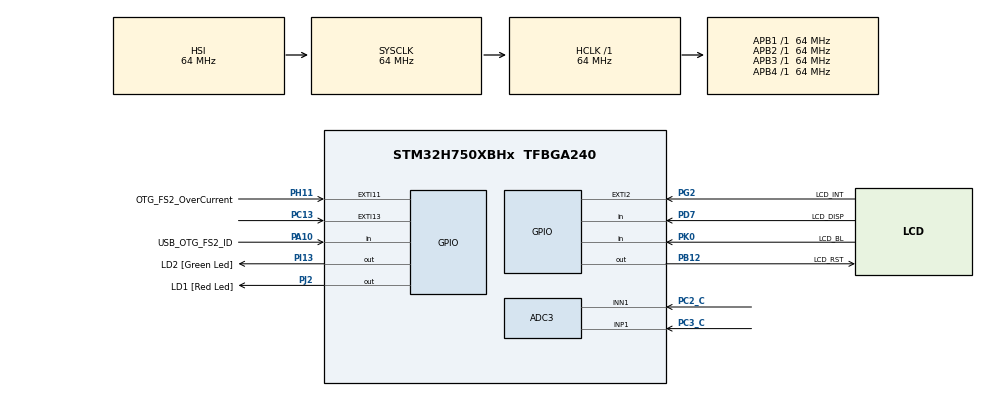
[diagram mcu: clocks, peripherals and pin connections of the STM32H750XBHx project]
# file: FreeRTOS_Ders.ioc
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ADC3.Channel-0\#ChannelRegularConversion=ADC_CHANNEL_1
ADC3.NbrOfConversionFlag=1
ADC3.OffsetNumber-0\#ChannelRegularConversion=ADC_OFFSET_NONE
ADC3.Rank-0\#ChannelRegularConversion=1
ADC3.SamplingTime-0\#ChannelRegularConversion=ADC_SAMPLETIME_1CYCLE_5
ADC3.SingleDiff-0\#ChannelRegularConversion=ADC_DIFFERENTIAL_ENDED
CORTEX_M7.default_mode_Activation=1
FREERTOS.Tasks01=taskA,32,256,StartTaskA,Default,NULL,Dynamic,NULL,NULL;taskB,16,256,StartTaskB,Default,NULL,Dynamic,NULL,NULL;monitorTask,40,256,StartMonitorTask,Default,NULL,Dynamic,NULL,NULL
FREERTOS.configCHECK_FOR_STACK_OVERFLOW=2
FREERTOS.configUSE_MALLOC_FAILED_HOOK=1
IWDG1.Prescaler=IWDG_PRESCALER_32
Mcu.Family=STM32H7
Mcu.Name=STM32H750XBHx
Mcu.Package=TFBGA240
NVIC.EXTI15_10_IRQn=true\:15\:0\:true\:false\:true\:true\:true\:true\:true
NVIC.PriorityGroup=NVIC_PRIORITYGROUP_4
NVIC.TIM6_DAC_IRQn=true\:15\:0\:false\:false\:true\:false\:false\:true\:true
NVIC.TimeBase=TIM6_DAC_IRQn
NVIC.TimeBaseIP=TIM6
PA0_C.Signal=ADCx_INP0
PA1.GPIO_Label=MII_RX_CLK
PA1.Signal=ETH_RX_CLK
PA10.GPIO_Label=USB_OTG_FS2_ID
PA10.Signal=GPIO_Input
PA11.GPIO_Label=USB_OTG_FS2_N
PA11.Signal=USB_OTG_FS_DM
PA12.GPIO_Label=USB_OTG_FS2_P
PA12.Signal=USB_OTG_FS_DP
PA1_C.Signal=ADCx_INP1
PA2.GPIO_Label=MII_MDIO
PA2.Signal=ETH_MDIO
PA6.Signal=S_TIM13_CH1
PA7.GPIO_Label=MII_RX_DV
PA7.Signal=ETH_RX_DV
PA8.Signal=S_TIM1_CH1
PA9.GPIO_Label=VBUS_FS2
PA9.Signal=USB_OTG_FS_VBUS
PB0.GPIO_Label=MII_RX_D2
PB0.Signal=ETH_RXD2
PB1.GPIO_Label=MII_RX_D3
PB1.Signal=ETH_RXD3
PB10.GPIO_Label=VCP_TX
PB10.Signal=USART3_TX
PB11.GPIO_Label=VCP_RX
PB11.Signal=USART3_RX
PB12.GPIO_Label=LCD_RST
PB12.Signal=GPIO_Output
PB13.GPIO_Label=FDCAN2_TX
PB13.Signal=FDCAN2_TX
PB15.Signal=SPI2_MOSI
PB4\ (NJTRST).Signal=SPI2_NSS
PB5.GPIO_Label=FDCAN2_RX
PB5.Signal=FDCAN2_RX
PB6.Signal=QUADSPI_BK1_NCS
PB8.GPIO_Label=SDIO1_D4
PB8.Signal=SDMMC1_D4
PB9.GPIO_Label=SDIO1_D5
PB9.Signal=SDMMC1_D5
PC0.Signal=ADCx_INP10
PC1.GPIO_Label=MII_MDC
PC1.Signal=ETH_MDC
PC10.GPIO_Label=SDIO1_D2
PC10.Signal=SDMMC1_D2
PC11.GPIO_Label=SDIO1_D3
PC11.Signal=SDMMC1_D3
PC12.GPIO_Label=SDIO1_CK
PC12.Signal=SDMMC1_CK
PC13.Signal=GPXTI13
PC14-OSC32_IN\ (OSC32_IN).GPIO_Label=OSC32_IN
PC14-OSC32_IN\ (OSC32_IN).Mode=LSE-External-Clock-Source
PC14-OSC32_IN\ (OSC32_IN).Signal=RCC_OSC32_IN
PC15-OSC32_OUT\ (OSC32_OUT).GPIO_Label=OSC32_OUT
PC15-OSC32_OUT\ (OSC32_OUT).Signal=RCC_OSC32_OUT
PC2.GPIO_Label=MII_TXD2
PC2.Signal=ETH_TXD2
PC2_C.Signal=SharedAnalog_PC2
PC3.GPIO_Label=MII_TX_CLK
PC3.Signal=ETH_TX_CLK
PC3_C.Mode=IN1-Differential
PC3_C.Signal=ADC3_INP1
PC4.GPIO_Label=MII_RXD0
PC4.Signal=ETH_RXD0
PC5.GPIO_Label=MII_RXD1
PC5.Signal=ETH_RXD1
PC6.GPIO_Label=SDIO1_D6
PC6.Signal=SDMMC1_D6
PC7.GPIO_Label=SDIO1_D7
PC7.Signal=SDMMC1_D7
PC8.GPIO_Label=SDIO1_D0
PC8.Signal=SDMMC1_D0
PC9.GPIO_Label=SDIO1_D1
PC9.Signal=SDMMC1_D1
PD0.Signal=FMC_D2_DA2
PD1.Signal=FMC_D3_DA3
PD10.Signal=FMC_D15_DA15
PD11.Signal=QUADSPI_BK1_IO0
PD14.Signal=FMC_D0_DA0
PD15.Signal=FMC_D1_DA1
PD2.GPIO_Label=SDIO1_CMD
PD2.Signal=SDMMC1_CMD
PD3.Signal=SPI2_SCK
PD7.GPIO_Label=LCD_DISP
PD7.Signal=GPIO_Input
PD8.Signal=FMC_D13_DA13
PD9.Signal=FMC_D14_DA14
PE0.Signal=FMC_NBL0
PE1.Signal=FMC_NBL1
PE10.Signal=FMC_D7_DA7
PE11.Signal=FMC_D8_DA8
PE12.Signal=FMC_D9_DA9
PE13.Signal=FMC_D10_DA10
PE14.Signal=FMC_D11_DA11
PE15.Signal=FMC_D12_DA12
PE2.GPIO_Label=MII_TXD3
PE2.Signal=ETH_TXD3
PE4.Signal=SAI4_D2
PE5.Signal=SAI4_CK2
PE7.Signal=FMC_D4_DA4
PE8.Signal=FMC_D5_DA5
PE9.Signal=FMC_D6_DA6
PF0.Signal=FMC_A0
PF1.Signal=FMC_A1
PF10.Signal=QUADSPI_CLK
PF11.Signal=FMC_SDNRAS
PF12.Signal=FMC_A6
PF13.Signal=FMC_A7
PF14.Signal=FMC_A8
PF15.Signal=FMC_A9
PF2.Signal=FMC_A2
PF3.Signal=FMC_A3
PF4.Signal=FMC_A4
PF5.Signal=FMC_A5
PF6.Signal=QUADSPI_BK1_IO3
PF7.Signal=QUADSPI_BK1_IO2
PF8.Signal=ADC3_INP7
PF9.Signal=QUADSPI_BK1_IO1
PG0.Signal=FMC_A10
PG1.Signal=FMC_A11
PG10.Signal=SAI2_SD_B
PG11.GPIO_Label=MII_TX_EN
PG11.Signal=ETH_TX_EN
PG12.GPIO_Label=MII_TXD1
PG12.Signal=ETH_TXD1
PG13.GPIO_Label=MII_TXD0
PG13.Signal=ETH_TXD0
PG15.Signal=FMC_SDNCAS
PG2.GPIO_Label=LCD_INT
PG2.Signal=GPXTI2
PG4.Signal=FMC_A14_BA0
PG5.Signal=FMC_A15_BA1
PG8.Signal=FMC_SDCLK
PH0-OSC_IN\ (PH0).GPIO_Label=OSC_IN
PH0-OSC_IN\ (PH0).Mode=HSE-External-Clock-Source
PH0-OSC_IN\ (PH0).Signal=RCC_OSC_IN
PH1-OSC_OUT\ (PH1).GPIO_Label=OSC_OUT
PH1-OSC_OUT\ (PH1).Signal=RCC_OSC_OUT
PH11.GPIO_Label=OTG_FS2_OverCurrent
PH11.Signal=GPXTI11
PH13.GPIO_Label=FDCAN1_TX
PH13.Signal=FDCAN1_TX
PH14.GPIO_Label=FDCAN1_RX
PH14.Signal=FDCAN1_RX
PH15.Signal=TIM8_CH3N
PH2.GPIO_Label=MII_CRS
PH2.Signal=ETH_CRS
PH3.GPIO_Label=MII_COL
PH3.Signal=ETH_COL
PH5.Signal=FMC_SDNWE
PH6.Signal=FMC_SDNE1
PH7.Signal=FMC_SDCKE1
PH9.Signal=LTDC_R3
PI0.Signal=LTDC_G5
PI1.Signal=LTDC_G6
PI10.GPIO_Label=MII_RX_ER
PI10.Signal=ETH_RX_ER
PI12.Signal=LTDC_HSYNC
PI13.GPIO_Label=LD2 [Green Led]
PI13.Signal=GPIO_Output
PI14.Signal=LTDC_CLK
PI15.Signal=LTDC_R0
PI2.Signal=SPI2_MISO
PI4.Signal=SAI2_MCLK_A
PI5.Signal=SAI2_SCK_A
PI6.Signal=SAI2_SD_A
PI7.Signal=SAI2_FS_A
PI9.Signal=LTDC_VSYNC
PJ0.Signal=LTDC_R1
PJ1.Signal=LTDC_R2
PJ10.Signal=LTDC_G3
PJ11.Signal=LTDC_G4
PJ12.Signal=LTDC_B0
PJ13.Signal=LTDC_B1
PJ14.Signal=LTDC_B2
PJ15.GPIO_Label=LCD_DISP
PJ15.Signal=LTDC_B3
PJ2.GPIO_Label=LD1 [Red Led]
PJ2.Signal=GPIO_Output
PJ3.Signal=LTDC_R4
PJ4.Signal=LTDC_R5
PJ5.Signal=LTDC_R6
PJ6.Signal=LTDC_R7
PJ7.Signal=LTDC_G0
PJ8.Signal=LTDC_G1
PJ9.Signal=LTDC_G2
PK0.GPIO_Label=LCD_BL
PK0.Signal=GPIO_Input
PK2.Signal=LTDC_G7
PK3.Signal=LTDC_B4
PK4.Signal=LTDC_B5
PK5.Signal=LTDC_B6
PK6.Signal=LTDC_B7
PK7.Signal=LTDC_DE
ProjectManager.HeapSize=0x200
ProjectManager.StackSize=0x400
ProjectManager.TargetToolchain=STM32CubeIDE
RCC.ADCFreq_Value=37500000
RCC.APB1Freq_Value=64000000
RCC.APB2Freq_Value=64000000
RCC.APB3Freq_Value=64000000
RCC.APB4Freq_Value=64000000
RCC.CortexFreq_Value=64000000
RCC.DIVM1=22
RCC.DIVM2=2
RCC.DIVN1=169
RCC.DIVN2=12
RCC.DIVP2=4
RCC.DIVQ1=4
RCC.HCLKFreq_Value=64000000
RCC.PLL2FRACN=0
RCC.PLL3FRACN=0
RCC.PLLFRACN=0
RCC.PLLSourceVirtual=RCC_PLLSOURCE_HSE
RCC.SYSCLKFreq_VALUE=64000000
RCC.USBFreq_Value=48011363.63636364
SH.ADCx_INP0.0=ADC1_INP0
SH.ADCx_INP0.1=ADC2_INP0
SH.ADCx_INP1.0=ADC1_INP1
SH.ADCx_INP1.1=ADC2_INP1
SH.ADCx_INP10.0=ADC1_INP10
SH.ADCx_INP10.1=ADC3_INP10
SH.FMC_A0.0=FMC_A0
SH.FMC_A1.0=FMC_A1
SH.FMC_A10.0=FMC_A10
SH.FMC_A11.0=FMC_A11
SH.FMC_A14_BA0.0=FMC_BA0
SH.FMC_A15_BA1.0=FMC_BA1
SH.FMC_A2.0=FMC_A2
SH.FMC_A3.0=FMC_A3
SH.FMC_A4.0=FMC_A4
SH.FMC_A5.0=FMC_A5
SH.FMC_A6.0=FMC_A6
SH.FMC_A7.0=FMC_A7
SH.FMC_A8.0=FMC_A8
SH.FMC_A9.0=FMC_A9
SH.FMC_D0_DA0.0=FMC_D0
SH.FMC_D10_DA10.0=FMC_D10
SH.FMC_D11_DA11.0=FMC_D11
SH.FMC_D12_DA12.0=FMC_D12
SH.FMC_D13_DA13.0=FMC_D13
SH.FMC_D14_DA14.0=FMC_D14
SH.FMC_D15_DA15.0=FMC_D15
SH.FMC_D1_DA1.0=FMC_D1
SH.FMC_D2_DA2.0=FMC_D2
SH.FMC_D3_DA3.0=FMC_D3
SH.FMC_D4_DA4.0=FMC_D4
SH.FMC_D5_DA5.0=FMC_D5
SH.FMC_D6_DA6.0=FMC_D6
SH.FMC_D7_DA7.0=FMC_D7
SH.FMC_D8_DA8.0=FMC_D8
SH.FMC_D9_DA9.0=FMC_D9
SH.FMC_NBL0.0=FMC_NBL0
SH.FMC_NBL1.0=FMC_NBL1
SH.FMC_SDCLK.0=FMC_SDCLK
SH.FMC_SDNCAS.0=FMC_SDNCAS
SH.FMC_SDNRAS.0=FMC_SDNRAS
SH.FMC_SDNWE.0=FMC_SDNWE
SH.S_TIM13_CH1.0=TIM13_CH1
SH.S_TIM1_CH1.0=TIM1_CH1
SH.SharedAnalog_PC2.0=ADC3_INP0
SH.SharedAnalog_PC2.1=ADC3_INN1,IN1-Differential
VP_FREERTOS_VS_CMSIS_V2.Mode=CMSIS_V2
VP_IWDG1_VS_IWDG.Mode=IWDG_Activate
VP_MEMORYMAP_VS_MEMORYMAP.Mode=CurAppReg
VP_SYS_VS_tim6.Mode=TIM6
board=STM32H750B-DK

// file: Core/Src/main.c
/* USER CODE BEGIN Header */
/**
 ******************************************************************************
 * @file           : main.c
 * @brief          : Main program body
 ******************************************************************************
 * @attention
 *
 * Copyright (c) 2026 STMicroelectronics.
 * All rights reserved.
 *
 * This software is licensed under terms that can be found in the LICENSE file
 * in the root directory of this software component.
 * If no LICENSE file comes with this software, it is provided AS-IS.
 *
 ******************************************************************************
 */
/* USER CODE END Header */
#include "main.h"
#include "FreeRTOS.h"
#include "cmsis_os2.h"

/* USER CODE BEGIN PD */

#define FLAG_BUTTON (1u << 0)
#define FLAG_DATA (1u << 1)

/* USER CODE END PD */

ADC_HandleTypeDef hadc3;

IWDG_HandleTypeDef hiwdg1;

/* Definitions for taskA */
osThreadId_t taskAHandle;
const osThreadAttr_t taskA_attributes =
		{ .name = "taskA", .stack_size = 256 * 4, .priority =
				(osPriority_t) osPriorityAboveNormal, };
/* Definitions for taskB */
osThreadId_t taskBHandle;
const osThreadAttr_t taskB_attributes =
		{ .name = "taskB", .stack_size = 256 * 4, .priority =
				(osPriority_t) osPriorityBelowNormal, };
/* Definitions for monitorTask */
osThreadId_t monitorTaskHandle;
const osThreadAttr_t monitorTask_attributes = { .name = "monitorTask",
		.stack_size = 256 * 4, .priority = (osPriority_t) osPriorityHigh, };
/* USER CODE BEGIN PV */

volatile uint32_t counterA = 0;
volatile uint32_t counterB = 0;

osMessageQueueId_t dataQueue;
volatile uint32_t lastReceived = 0;
volatile uint32_t sendErrors = 0;

osMutexId_t counterMutex;
volatile uint32_t sharedCounter = 0;

const osMutexAttr_t counterMutexAttr = { .name = "counterMutex", .attr_bits =
osMutexPrioInherit };

osSemaphoreId_t eventSem;
volatile uint32_t releaseErrors = 0;

volatile uint32_t irqCount = 0;

volatile uint32_t lastFlags = 0;

volatile uint32_t buttonEvents = 0;
volatile uint32_t dataEvents = 0;

volatile uint32_t stackFreeA = 0;
volatile uint32_t stackFreeB = 0;

volatile size_t heapBefore = 0;
volatile size_t heapAllocated = 0;
volatile size_t heapAfterFree = 0;
volatile size_t heapMinimum = 0;

volatile uint32_t workResult = 0;
volatile uint32_t elapsedTicksA = 0;
volatile uint32_t maxElapsedTicksA = 0;

volatile uint32_t deadlineMissesA = 0;
volatile uint32_t responseTicksA = 0;
volatile uint32_t startLateTicksA = 0;

volatile uint32_t skippedReleasesA = 0;

volatile uint32_t monitorChecks = 0;
volatile uint32_t stalledTicksA = 0;
volatile uint32_t taskStalledA = 0;

volatile uint32_t stalledTicksB = 0;
volatile uint32_t taskStalledB = 0;

volatile uint32_t iwdgResetSeen = 0;
/* USER CODE END PV */

void SystemClock_Config(void);
static void MPU_Config(void);
static void MX_GPIO_Init(void);
static void MX_ADC3_Init(void);
static void MX_IWDG1_Init(void);
void StartTaskA(void *argument);
void StartTaskB(void *argument);
void StartMonitorTask(void *argument);

int main(void) {

	/* USER CODE BEGIN 1 */

	iwdgResetSeen = (__HAL_RCC_GET_FLAG(RCC_FLAG_IWDG1RST) != RESET) ? 1U : 0U;

	/* Sonraki resetin nedenini ayırt edebilmek için temizle. */

	__HAL_RCC_CLEAR_RESET_FLAGS();

	/* USER CODE END 1 */

	/* MPU Configuration--------------------------------------------------------*/
	MPU_Config();

	/* MCU Configuration--------------------------------------------------------*/

	/* Reset of all peripherals, Initializes the Flash interface and the Systick. */
	HAL_Init();

	/* Configure the system clock */
	SystemClock_Config();

	/* Initialize all configured peripherals */
	MX_GPIO_Init();
	MX_ADC3_Init();
	MX_IWDG1_Init();
	/* USER CODE BEGIN 2 */

	__HAL_DBGMCU_FREEZE_IWDG1();

	/* USER CODE END 2 */

	/* Init scheduler */
	osKernelInitialize();

	/* USER CODE BEGIN RTOS_MUTEX */
	/* add mutexes, ... */
	counterMutex = osMutexNew(&counterMutexAttr);

	if (counterMutex == NULL) {
		Error_Handler();
	}
	/* USER CODE END RTOS_MUTEX */

	/* USER CODE BEGIN RTOS_SEMAPHORES */
	/* add semaphores, ... */
	eventSem = osSemaphoreNew(3, 0, NULL);

	if (eventSem == NULL) {
		Error_Handler();
	}
	/* USER CODE END RTOS_SEMAPHORES */

	/* USER CODE BEGIN RTOS_QUEUES */
	/* add queues, ... */
	dataQueue = osMessageQueueNew(4, sizeof(uint32_t), NULL);

	if (dataQueue == NULL) {
		Error_Handler();
	}
	/* USER CODE END RTOS_QUEUES */

	/* Create the thread(s) */
	/* creation of taskA */
	taskAHandle = osThreadNew(StartTaskA, NULL, &taskA_attributes);

	/* creation of taskB */
	taskBHandle = osThreadNew(StartTaskB, NULL, &taskB_attributes);

	/* creation of monitorTask */
	monitorTaskHandle = osThreadNew(StartMonitorTask, NULL,
			&monitorTask_attributes);

	/* Start scheduler */
	osKernelStart();

	/* We should never get here as control is now taken by the scheduler */

	/* Infinite loop */
	while (1) {

	}
}

void SystemClock_Config(void) {
	RCC_OscInitTypeDef RCC_OscInitStruct = { 0 };
	RCC_ClkInitTypeDef RCC_ClkInitStruct = { 0 };

	/** Supply configuration update enable
	 */
	HAL_PWREx_ConfigSupply(PWR_LDO_SUPPLY);

	/** Configure the main internal regulator output voltage
	 */
	__HAL_PWR_VOLTAGESCALING_CONFIG(PWR_REGULATOR_VOLTAGE_SCALE3);

	while (!__HAL_PWR_GET_FLAG(PWR_FLAG_VOSRDY)) {
	}

	/** Macro to configure the PLL clock source
	 */
	__HAL_RCC_PLL_PLLSOURCE_CONFIG(RCC_PLLSOURCE_HSE);

	/** Initializes the RCC Oscillators according to the specified parameters
	 * in the RCC_OscInitTypeDef structure.
	 */
	RCC_OscInitStruct.OscillatorType = RCC_OSCILLATORTYPE_HSI
			| RCC_OSCILLATORTYPE_LSI | RCC_OSCILLATORTYPE_HSE;
	RCC_OscInitStruct.HSEState = RCC_HSE_BYPASS;
	RCC_OscInitStruct.HSIState = RCC_HSI_DIV1;
	RCC_OscInitStruct.HSICalibrationValue = RCC_HSICALIBRATION_DEFAULT;
	RCC_OscInitStruct.LSIState = RCC_LSI_ON;
	RCC_OscInitStruct.PLL.PLLState = RCC_PLL_NONE;
	if (HAL_RCC_OscConfig(&RCC_OscInitStruct) != HAL_OK) {
		Error_Handler();
	}

	/** Initializes the CPU, AHB and APB buses clocks
	 */
	RCC_ClkInitStruct.ClockType = RCC_CLOCKTYPE_HCLK | RCC_CLOCKTYPE_SYSCLK
			| RCC_CLOCKTYPE_PCLK1 | RCC_CLOCKTYPE_PCLK2 | RCC_CLOCKTYPE_D3PCLK1
			| RCC_CLOCKTYPE_D1PCLK1;
	RCC_ClkInitStruct.SYSCLKSource = RCC_SYSCLKSOURCE_HSI;
	RCC_ClkInitStruct.SYSCLKDivider = RCC_SYSCLK_DIV1;
	RCC_ClkInitStruct.AHBCLKDivider = RCC_HCLK_DIV1;
	RCC_ClkInitStruct.APB3CLKDivider = RCC_APB3_DIV1;
	RCC_ClkInitStruct.APB1CLKDivider = RCC_APB1_DIV1;
	RCC_ClkInitStruct.APB2CLKDivider = RCC_APB2_DIV1;
	RCC_ClkInitStruct.APB4CLKDivider = RCC_APB4_DIV1;

	if (HAL_RCC_ClockConfig(&RCC_ClkInitStruct, FLASH_LATENCY_1) != HAL_OK) {
		Error_Handler();
	}
}

static void MX_ADC3_Init(void) {

	ADC_ChannelConfTypeDef sConfig = { 0 };

	/** Common config
	 */
	hadc3.Instance = ADC3;
	hadc3.Init.ClockPrescaler = ADC_CLOCK_ASYNC_DIV1;
	hadc3.Init.ScanConvMode = ADC_SCAN_DISABLE;
	hadc3.Init.EOCSelection = ADC_EOC_SINGLE_CONV;
	hadc3.Init.LowPowerAutoWait = DISABLE;
	hadc3.Init.ContinuousConvMode = DISABLE;
	hadc3.Init.NbrOfConversion = 1;
	hadc3.Init.DiscontinuousConvMode = DISABLE;
	hadc3.Init.ExternalTrigConv = ADC_SOFTWARE_START;
	hadc3.Init.ExternalTrigConvEdge = ADC_EXTERNALTRIGCONVEDGE_NONE;
	hadc3.Init.ConversionDataManagement = ADC_CONVERSIONDATA_DR;
	hadc3.Init.Overrun = ADC_OVR_DATA_PRESERVED;
	hadc3.Init.LeftBitShift = ADC_LEFTBITSHIFT_NONE;
	hadc3.Init.OversamplingMode = DISABLE;
	hadc3.Init.Oversampling.Ratio = 1;
	if (HAL_ADC_Init(&hadc3) != HAL_OK) {
		Error_Handler();
	}
	hadc3.Init.Resolution = ADC_RESOLUTION_16B;
	if (HAL_ADC_Init(&hadc3) != HAL_OK) {
		Error_Handler();
	}

	/** Configure Regular Channel
	 */
	sConfig.Channel = ADC_CHANNEL_1;
	sConfig.Rank = ADC_REGULAR_RANK_1;
	sConfig.SamplingTime = ADC_SAMPLETIME_1CYCLE_5;
	sConfig.SingleDiff = ADC_DIFFERENTIAL_ENDED;
	sConfig.OffsetNumber = ADC_OFFSET_NONE;
	sConfig.Offset = 0;
	sConfig.OffsetSignedSaturation = DISABLE;
	if (HAL_ADC_ConfigChannel(&hadc3, &sConfig) != HAL_OK) {
		Error_Handler();
	}

}

static void MX_IWDG1_Init(void) {

	hiwdg1.Instance = IWDG1;
	hiwdg1.Init.Prescaler = IWDG_PRESCALER_32;
	hiwdg1.Init.Window = 4095;
	hiwdg1.Init.Reload = 4095;
	if (HAL_IWDG_Init(&hiwdg1) != HAL_OK) {
		Error_Handler();
	}

}

static void MX_GPIO_Init(void) {
	GPIO_InitTypeDef GPIO_InitStruct = { 0 };

	/* GPIO Ports Clock Enable */
	__HAL_RCC_GPIOI_CLK_ENABLE();
	__HAL_RCC_GPIOB_CLK_ENABLE();
	__HAL_RCC_GPIOK_CLK_ENABLE();
	__HAL_RCC_GPIOG_CLK_ENABLE();
	__HAL_RCC_GPIOC_CLK_ENABLE();
	__HAL_RCC_GPIOE_CLK_ENABLE();
	__HAL_RCC_GPIOJ_CLK_ENABLE();
	__HAL_RCC_GPIOD_CLK_ENABLE();
	__HAL_RCC_GPIOH_CLK_ENABLE();
	__HAL_RCC_GPIOA_CLK_ENABLE();
	__HAL_RCC_GPIOF_CLK_ENABLE();

	/*Configure GPIO pin Output Level */
	HAL_GPIO_WritePin(LD2_GPIO_Port, LD2_Pin, GPIO_PIN_RESET);

	/*Configure GPIO pin Output Level */
	HAL_GPIO_WritePin(LD1_GPIO_Port, LD1_Pin, GPIO_PIN_RESET);

	/*Configure GPIO pin Output Level */
	HAL_GPIO_WritePin(LCD_RST_GPIO_Port, LCD_RST_Pin, GPIO_PIN_RESET);

	/*Configure GPIO pins : PI6 PI5 PI4 PI7 */
	GPIO_InitStruct.Pin = GPIO_PIN_6 | GPIO_PIN_5 | GPIO_PIN_4 | GPIO_PIN_7;
	GPIO_InitStruct.Mode = GPIO_MODE_AF_PP;
	GPIO_InitStruct.Pull = GPIO_NOPULL;
	GPIO_InitStruct.Speed = GPIO_SPEED_FREQ_LOW;
	GPIO_InitStruct.Alternate = GPIO_AF10_SAI2;
	HAL_GPIO_Init(GPIOI, &GPIO_InitStruct);

	/*Configure GPIO pins : FDCAN2_RX_Pin FDCAN2_TX_Pin */
	GPIO_InitStruct.Pin = FDCAN2_RX_Pin | FDCAN2_TX_Pin;
	GPIO_InitStruct.Mode = GPIO_MODE_AF_PP;
	GPIO_InitStruct.Pull = GPIO_NOPULL;
	GPIO_InitStruct.Speed = GPIO_SPEED_FREQ_LOW;
	GPIO_InitStruct.Alternate = GPIO_AF9_FDCAN2;
	HAL_GPIO_Init(GPIOB, &GPIO_InitStruct);

	/*Configure GPIO pins : PK5 PK4 PK6 PK3
	 PK7 PK2 */
	GPIO_InitStruct.Pin = GPIO_PIN_5 | GPIO_PIN_4 | GPIO_PIN_6 | GPIO_PIN_3
			| GPIO_PIN_7 | GPIO_PIN_2;
	GPIO_InitStruct.Mode = GPIO_MODE_AF_PP;
	GPIO_InitStruct.Pull = GPIO_NOPULL;
	GPIO_InitStruct.Speed = GPIO_SPEED_FREQ_LOW;
	GPIO_InitStruct.Alternate = GPIO_AF14_LTDC;
	HAL_GPIO_Init(GPIOK, &GPIO_InitStruct);

	/*Configure GPIO pin : PG10 */
	GPIO_InitStruct.Pin = GPIO_PIN_10;
	GPIO_InitStruct.Mode = GPIO_MODE_AF_PP;
	GPIO_InitStruct.Pull = GPIO_NOPULL;
	GPIO_InitStruct.Speed = GPIO_SPEED_FREQ_LOW;
	GPIO_InitStruct.Alternate = GPIO_AF10_SAI2;
	HAL_GPIO_Init(GPIOG, &GPIO_InitStruct);

	/*Configure GPIO pins : SDIO1_D2_Pin SDIO1_D3_Pin SDIO1_CK_Pin SDIO1_D0_Pin
	 SDIO1_D1_Pin SDIO1_D7_Pin SDIO1_D6_Pin */
	GPIO_InitStruct.Pin = SDIO1_D2_Pin | SDIO1_D3_Pin | SDIO1_CK_Pin
			| SDIO1_D0_Pin | SDIO1_D1_Pin | SDIO1_D7_Pin | SDIO1_D6_Pin;
	GPIO_InitStruct.Mode = GPIO_MODE_AF_PP;
	GPIO_InitStruct.Pull = GPIO_NOPULL;
	GPIO_InitStruct.Speed = GPIO_SPEED_FREQ_VERY_HIGH;
	GPIO_InitStruct.Alternate = GPIO_AF12_SDIO1;
	HAL_GPIO_Init(GPIOC, &GPIO_InitStruct);

	/*Configure GPIO pins : PI1 PI0 PI9 PI12
	 PI14 PI15 */
	GPIO_InitStruct.Pin = GPIO_PIN_1 | GPIO_PIN_0 | GPIO_PIN_9 | GPIO_PIN_12
			| GPIO_PIN_14 | GPIO_PIN_15;
	GPIO_InitStruct.Mode = GPIO_MODE_AF_PP;
	GPIO_InitStruct.Pull = GPIO_NOPULL;
	GPIO_InitStruct.Speed = GPIO_SPEED_FREQ_LOW;
	GPIO_InitStruct.Alternate = GPIO_AF14_LTDC;
	HAL_GPIO_Init(GPIOI, &GPIO_InitStruct);

	/*Configure GPIO pins : PE1 PE0 PE10 PE9
	 PE11 PE12 PE15 PE8
	 PE13 PE7 PE14 */
	GPIO_InitStruct.Pin = GPIO_PIN_1 | GPIO_PIN_0 | GPIO_PIN_10 | GPIO_PIN_9
			| GPIO_PIN_11 | GPIO_PIN_12 | GPIO_PIN_15 | GPIO_PIN_8 | GPIO_PIN_13
			| GPIO_PIN_7 | GPIO_PIN_14;
	GPIO_InitStruct.Mode = GPIO_MODE_AF_PP;
	GPIO_InitStruct.Pull = GPIO_NOPULL;
	GPIO_InitStruct.Speed = GPIO_SPEED_FREQ_VERY_HIGH;
	GPIO_InitStruct.Alternate = GPIO_AF12_FMC;
	HAL_GPIO_Init(GPIOE, &GPIO_InitStruct);

	/*Configure GPIO pin : PB6 */
	GPIO_InitStruct.Pin = GPIO_PIN_6;
	GPIO_InitStruct.Mode = GPIO_MODE_AF_PP;
	GPIO_InitStruct.Pull = GPIO_NOPULL;
	GPIO_InitStruct.Speed = GPIO_SPEED_FREQ_LOW;
	GPIO_InitStruct.Alternate = GPIO_AF10_QUADSPI;
	HAL_GPIO_Init(GPIOB, &GPIO_InitStruct);

	/*Configure GPIO pin : PB4 */
	GPIO_InitStruct.Pin = GPIO_PIN_4;
	GPIO_InitStruct.Mode = GPIO_MODE_AF_PP;
	GPIO_InitStruct.Pull = GPIO_NOPULL;
	GPIO_InitStruct.Speed = GPIO_SPEED_FREQ_LOW;
	GPIO_InitStruct.Alternate = GPIO_AF7_SPI2;
	HAL_GPIO_Init(GPIOB, &GPIO_InitStruct);

	/*Configure GPIO pins : MII_TX_EN_Pin MII_TXD1_Pin MII_TXD0_Pin */
	GPIO_InitStruct.Pin = MII_TX_EN_Pin | MII_TXD1_Pin | MII_TXD0_Pin;
	GPIO_InitStruct.Mode = GPIO_MODE_AF_PP;
	GPIO_InitStruct.Pull = GPIO_NOPULL;
	GPIO_InitStruct.Speed = GPIO_SPEED_FREQ_HIGH;
	GPIO_InitStruct.Alternate = GPIO_AF11_ETH;
	HAL_GPIO_Init(GPIOG, &GPIO_InitStruct);

	/*Configure GPIO pins : LCD_DISP_Pin PJ14 PJ12 PJ13
	 PJ11 PJ10 PJ9 PJ0
	 PJ8 PJ7 PJ6 PJ1
	 PJ5 PJ3 PJ4 */
	GPIO_InitStruct.Pin = LCD_DISP_Pin | GPIO_PIN_14 | GPIO_PIN_12 | GPIO_PIN_13
			| GPIO_PIN_11 | GPIO_PIN_10 | GPIO_PIN_9 | GPIO_PIN_0 | GPIO_PIN_8
			| GPIO_PIN_7 | GPIO_PIN_6 | GPIO_PIN_1 | GPIO_PIN_5 | GPIO_PIN_3
			| GPIO_PIN_4;
	GPIO_InitStruct.Mode = GPIO_MODE_AF_PP;
	GPIO_InitStruct.Pull = GPIO_NOPULL;
	GPIO_InitStruct.Speed = GPIO_SPEED_FREQ_LOW;
	GPIO_InitStruct.Alternate = GPIO_AF14_LTDC;
	HAL_GPIO_Init(GPIOJ, &GPIO_InitStruct);

	/*Configure GPIO pin : PD3 */
	GPIO_InitStruct.Pin = GPIO_PIN_3;
	GPIO_InitStruct.Mode = GPIO_MODE_AF_PP;
	GPIO_InitStruct.Pull = GPIO_NOPULL;
	GPIO_InitStruct.Speed = GPIO_SPEED_FREQ_LOW;
	GPIO_InitStruct.Alternate = GPIO_AF5_SPI2;
	HAL_GPIO_Init(GPIOD, &GPIO_InitStruct);

	/*Configure GPIO pin : PI2 */
	GPIO_InitStruct.Pin = GPIO_PIN_2;
	GPIO_InitStruct.Mode = GPIO_MODE_AF_PP;
	GPIO_InitStruct.Pull = GPIO_NOPULL;
	GPIO_InitStruct.Speed = GPIO_SPEED_FREQ_LOW;
	GPIO_InitStruct.Alternate = GPIO_AF5_SPI2;
	HAL_GPIO_Init(GPIOI, &GPIO_InitStruct);

	/*Configure GPIO pin : PH15 */
	GPIO_InitStruct.Pin = GPIO_PIN_15;
	GPIO_InitStruct.Mode = GPIO_MODE_AF_PP;
	GPIO_InitStruct.Pull = GPIO_NOPULL;
	GPIO_InitStruct.Speed = GPIO_SPEED_FREQ_LOW;
	GPIO_InitStruct.Alternate = GPIO_AF3_TIM8;
	HAL_GPIO_Init(GPIOH, &GPIO_InitStruct);

	/*Configure GPIO pins : FDCAN1_RX_Pin FDCAN1_TX_Pin */
	GPIO_InitStruct.Pin = FDCAN1_RX_Pin | FDCAN1_TX_Pin;
	GPIO_InitStruct.Mode = GPIO_MODE_AF_PP;
	GPIO_InitStruct.Pull = GPIO_NOPULL;
	GPIO_InitStruct.Speed = GPIO_SPEED_FREQ_LOW;
	GPIO_InitStruct.Alternate = GPIO_AF9_FDCAN1;
	HAL_GPIO_Init(GPIOH, &GPIO_InitStruct);

	/*Configure GPIO pin : MII_TXD3_Pin */
	GPIO_InitStruct.Pin = MII_TXD3_Pin;
	GPIO_InitStruct.Mode = GPIO_MODE_AF_PP;
	GPIO_InitStruct.Pull = GPIO_NOPULL;
	GPIO_InitStruct.Speed = GPIO_SPEED_FREQ_LOW;
	GPIO_InitStruct.Alternate = GPIO_AF11_ETH;
	HAL_GPIO_Init(MII_TXD3_GPIO_Port, &GPIO_InitStruct);

	/*Configure GPIO pin : LCD_DISPD7_Pin */
	GPIO_InitStruct.Pin = LCD_DISPD7_Pin;
	GPIO_InitStruct.Mode = GPIO_MODE_INPUT;
	GPIO_InitStruct.Pull = GPIO_NOPULL;
	HAL_GPIO_Init(LCD_DISPD7_GPIO_Port, &GPIO_InitStruct);

	/*Configure GPIO pins : PE5 PE4 */
	GPIO_InitStruct.Pin = GPIO_PIN_5 | GPIO_PIN_4;
	GPIO_InitStruct.Mode = GPIO_MODE_AF_PP;
	GPIO_InitStruct.Pull = GPIO_NOPULL;
	GPIO_InitStruct.Speed = GPIO_SPEED_FREQ_LOW;
	GPIO_InitStruct.Alternate = GPIO_AF10_SAI4;
	HAL_GPIO_Init(GPIOE, &GPIO_InitStruct);

	/*Configure GPIO pins : SDIO1_D5_Pin SDIO1_D4_Pin */
	GPIO_InitStruct.Pin = SDIO1_D5_Pin | SDIO1_D4_Pin;
	GPIO_InitStruct.Mode = GPIO_MODE_AF_PP;
	GPIO_InitStruct.Pull = GPIO_NOPULL;
	GPIO_InitStruct.Speed = GPIO_SPEED_FREQ_VERY_HIGH;
	GPIO_InitStruct.Alternate = GPIO_AF12_SDIO1;
	HAL_GPIO_Init(GPIOB, &GPIO_InitStruct);

	/*Configure GPIO pins : PG15 PG8 PG5 PG4
	 PG0 PG1 */
	GPIO_InitStruct.Pin = GPIO_PIN_15 | GPIO_PIN_8 | GPIO_PIN_5 | GPIO_PIN_4
			| GPIO_PIN_0 | GPIO_PIN_1;
	GPIO_InitStruct.Mode = GPIO_MODE_AF_PP;
	GPIO_InitStruct.Pull = GPIO_NOPULL;
	GPIO_InitStruct.Speed = GPIO_SPEED_FREQ_VERY_HIGH;
	GPIO_InitStruct.Alternate = GPIO_AF12_FMC;
	HAL_GPIO_Init(GPIOG, &GPIO_InitStruct);

	/*Configure GPIO pin : SDIO1_CMD_Pin */
	GPIO_InitStruct.Pin = SDIO1_CMD_Pin;
	GPIO_InitStruct.Mode = GPIO_MODE_AF_PP;
	GPIO_InitStruct.Pull = GPIO_NOPULL;
	GPIO_InitStruct.Speed = GPIO_SPEED_FREQ_VERY_HIGH;
	GPIO_InitStruct.Alternate = GPIO_AF12_SDIO1;
	HAL_GPIO_Init(SDIO1_CMD_GPIO_Port, &GPIO_InitStruct);

	/*Configure GPIO pins : PD0 PD1 PD15 PD14
	 PD10 PD9 PD8 */
	GPIO_InitStruct.Pin = GPIO_PIN_0 | GPIO_PIN_1 | GPIO_PIN_15 | GPIO_PIN_14
			| GPIO_PIN_10 | GPIO_PIN_9 | GPIO_PIN_8;
	GPIO_InitStruct.Mode = GPIO_MODE_AF_PP;
	GPIO_InitStruct.Pull = GPIO_NOPULL;
	GPIO_InitStruct.Speed = GPIO_SPEED_FREQ_VERY_HIGH;
	GPIO_InitStruct.Alternate = GPIO_AF12_FMC;
	HAL_GPIO_Init(GPIOD, &GPIO_InitStruct);

	/*Configure GPIO pin : USB_OTG_FS2_ID_Pin */
	GPIO_InitStruct.Pin = USB_OTG_FS2_ID_Pin;
	GPIO_InitStruct.Mode = GPIO_MODE_INPUT;
	GPIO_InitStruct.Pull = GPIO_NOPULL;
	HAL_GPIO_Init(USB_OTG_FS2_ID_GPIO_Port, &GPIO_InitStruct);

	/*Configure GPIO pin : PC13 */
	GPIO_InitStruct.Pin = GPIO_PIN_13;
	GPIO_InitStruct.Mode = GPIO_MODE_IT_RISING;
	GPIO_InitStruct.Pull = GPIO_NOPULL;
	HAL_GPIO_Init(GPIOC, &GPIO_InitStruct);

	/*Configure GPIO pin : PA8 */
	GPIO_InitStruct.Pin = GPIO_PIN_8;
	GPIO_InitStruct.Mode = GPIO_MODE_AF_PP;
	GPIO_InitStruct.Pull = GPIO_NOPULL;
	GPIO_InitStruct.Speed = GPIO_SPEED_FREQ_LOW;
	GPIO_InitStruct.Alternate = GPIO_AF1_TIM1;
	HAL_GPIO_Init(GPIOA, &GPIO_InitStruct);

	/*Configure GPIO pins : USB_OTG_FS2_P_Pin USB_OTG_FS2_N_Pin */
	GPIO_InitStruct.Pin = USB_OTG_FS2_P_Pin | USB_OTG_FS2_N_Pin;
	GPIO_InitStruct.Mode = GPIO_MODE_AF_PP;
	GPIO_InitStruct.Pull = GPIO_NOPULL;
	GPIO_InitStruct.Speed = GPIO_SPEED_FREQ_LOW;
	GPIO_InitStruct.Alternate = GPIO_AF10_OTG1_FS;
	HAL_GPIO_Init(GPIOA, &GPIO_InitStruct);

	/*Configure GPIO pin : MII_RX_ER_Pin */
	GPIO_InitStruct.Pin = MII_RX_ER_Pin;
	GPIO_InitStruct.Mode = GPIO_MODE_AF_PP;
	GPIO_InitStruct.Pull = GPIO_NOPULL;
	GPIO_InitStruct.Speed = GPIO_SPEED_FREQ_LOW;
	GPIO_InitStruct.Alternate = GPIO_AF11_ETH;
	HAL_GPIO_Init(MII_RX_ER_GPIO_Port, &GPIO_InitStruct);

	/*Configure GPIO pins : PF2 PF1 PF0 PF3
	 PF5 PF4 PF13 PF14
	 PF12 PF15 PF11 */
	GPIO_InitStruct.Pin = GPIO_PIN_2 | GPIO_PIN_1 | GPIO_PIN_0 | GPIO_PIN_3
			| GPIO_PIN_5 | GPIO_PIN_4 | GPIO_PIN_13 | GPIO_PIN_14 | GPIO_PIN_12
			| GPIO_PIN_15 | GPIO_PIN_11;
	GPIO_InitStruct.Mode = GPIO_MODE_AF_PP;
	GPIO_InitStruct.Pull = GPIO_NOPULL;
	GPIO_InitStruct.Speed = GPIO_SPEED_FREQ_VERY_HIGH;
	GPIO_InitStruct.Alternate = GPIO_AF12_FMC;
	HAL_GPIO_Init(GPIOF, &GPIO_InitStruct);

	/*Configure GPIO pin : LD2_Pin */
	GPIO_InitStruct.Pin = LD2_Pin;
	GPIO_InitStruct.Mode = GPIO_MODE_OUTPUT_PP;
	GPIO_InitStruct.Pull = GPIO_NOPULL;
	GPIO_InitStruct.Speed = GPIO_SPEED_FREQ_LOW;
	HAL_GPIO_Init(LD2_GPIO_Port, &GPIO_InitStruct);

	/*Configure GPIO pin : LCD_INT_Pin */
	GPIO_InitStruct.Pin = LCD_INT_Pin;
	GPIO_InitStruct.Mode = GPIO_MODE_IT_RISING;
	GPIO_InitStruct.Pull = GPIO_NOPULL;
	HAL_GPIO_Init(LCD_INT_GPIO_Port, &GPIO_InitStruct);

	/*Configure GPIO pin : LCD_BL_Pin */
	GPIO_InitStruct.Pin = LCD_BL_Pin;
	GPIO_InitStruct.Mode = GPIO_MODE_INPUT;
	GPIO_InitStruct.Pull = GPIO_NOPULL;
	HAL_GPIO_Init(LCD_BL_GPIO_Port, &GPIO_InitStruct);

	/*Configure GPIO pins : PF6 PF7 PF10 */
	GPIO_InitStruct.Pin = GPIO_PIN_6 | GPIO_PIN_7 | GPIO_PIN_10;
	GPIO_InitStruct.Mode = GPIO_MODE_AF_PP;
	GPIO_InitStruct.Pull = GPIO_NOPULL;
	GPIO_InitStruct.Speed = GPIO_SPEED_FREQ_LOW;
	GPIO_InitStruct.Alternate = GPIO_AF9_QUADSPI;
	HAL_GPIO_Init(GPIOF, &GPIO_InitStruct);

	/*Configure GPIO pin : PC0 */
	GPIO_InitStruct.Pin = GPIO_PIN_0;
	GPIO_InitStruct.Mode = GPIO_MODE_ANALOG;
	GPIO_InitStruct.Pull = GPIO_NOPULL;
	HAL_GPIO_Init(GPIOC, &GPIO_InitStruct);

	/*Configure GPIO pin : PF9 */
	GPIO_InitStruct.Pin = GPIO_PIN_9;
	GPIO_InitStruct.Mode = GPIO_MODE_AF_PP;
	GPIO_InitStruct.Pull = GPIO_NOPULL;
	GPIO_InitStruct.Speed = GPIO_SPEED_FREQ_LOW;
	GPIO_InitStruct.Alternate = GPIO_AF10_QUADSPI;
	HAL_GPIO_Init(GPIOF, &GPIO_InitStruct);

	/*Configure GPIO pins : MII_MDC_Pin MII_RXD0_Pin MII_RXD1_Pin */
	GPIO_InitStruct.Pin = MII_MDC_Pin | MII_RXD0_Pin | MII_RXD1_Pin;
	GPIO_InitStruct.Mode = GPIO_MODE_AF_PP;
	GPIO_InitStruct.Pull = GPIO_NOPULL;
	GPIO_InitStruct.Speed = GPIO_SPEED_FREQ_HIGH;
	GPIO_InitStruct.Alternate = GPIO_AF11_ETH;
	HAL_GPIO_Init(GPIOC, &GPIO_InitStruct);

	/*Configure GPIO pins : MII_TXD2_Pin MII_TX_CLK_Pin */
	GPIO_InitStruct.Pin = MII_TXD2_Pin | MII_TX_CLK_Pin;
	GPIO_InitStruct.Mode = GPIO_MODE_AF_PP;
	GPIO_InitStruct.Pull = GPIO_NOPULL;
	GPIO_InitStruct.Speed = GPIO_SPEED_FREQ_LOW;
	GPIO_InitStruct.Alternate = GPIO_AF11_ETH;
	HAL_GPIO_Init(GPIOC, &GPIO_InitStruct);

	/*Configure GPIO pins : MII_CRS_Pin MII_COL_Pin */
	GPIO_InitStruct.Pin = MII_CRS_Pin | MII_COL_Pin;
	GPIO_InitStruct.Mode = GPIO_MODE_AF_PP;
	GPIO_InitStruct.Pull = GPIO_NOPULL;
	GPIO_InitStruct.Speed = GPIO_SPEED_FREQ_LOW;
	GPIO_InitStruct.Alternate = GPIO_AF11_ETH;
	HAL_GPIO_Init(GPIOH, &GPIO_InitStruct);

	/*Configure GPIO pin : MII_MDIO_Pin */
	GPIO_InitStruct.Pin = MII_MDIO_Pin;
	GPIO_InitStruct.Mode = GPIO_MODE_AF_PP;
	GPIO_InitStruct.Pull = GPIO_NOPULL;
	GPIO_InitStruct.Speed = GPIO_SPEED_FREQ_HIGH;
	GPIO_InitStruct.Alternate = GPIO_AF11_ETH;
	HAL_GPIO_Init(MII_MDIO_GPIO_Port, &GPIO_InitStruct);

	/*Configure GPIO pins : MII_RX_CLK_Pin MII_RX_DV_Pin */
	GPIO_InitStruct.Pin = MII_RX_CLK_Pin | MII_RX_DV_Pin;
	GPIO_InitStruct.Mode = GPIO_MODE_AF_PP;
	GPIO_InitStruct.Pull = GPIO_NOPULL;
	GPIO_InitStruct.Speed = GPIO_SPEED_FREQ_LOW;
	GPIO_InitStruct.Alternate = GPIO_AF11_ETH;
	HAL_GPIO_Init(GPIOA, &GPIO_InitStruct);

	/*Configure GPIO pins : PH5 PH6 PH7 */
	GPIO_InitStruct.Pin = GPIO_PIN_5 | GPIO_PIN_6 | GPIO_PIN_7;
	GPIO_InitStruct.Mode = GPIO_MODE_AF_PP;
	GPIO_InitStruct.Pull = GPIO_NOPULL;
	GPIO_InitStruct.Speed = GPIO_SPEED_FREQ_VERY_HIGH;
	GPIO_InitStruct.Alternate = GPIO_AF12_FMC;
	HAL_GPIO_Init(GPIOH, &GPIO_InitStruct);

	/*Configure GPIO pins : VCP_TX_Pin VCP_RX_Pin */
	GPIO_InitStruct.Pin = VCP_TX_Pin | VCP_RX_Pin;
	GPIO_InitStruct.Mode = GPIO_MODE_AF_PP;
	GPIO_InitStruct.Pull = GPIO_NOPULL;
	GPIO_InitStruct.Speed = GPIO_SPEED_FREQ_LOW;
	GPIO_InitStruct.Alternate = GPIO_AF7_USART3;
	HAL_GPIO_Init(GPIOB, &GPIO_InitStruct);

	/*Configure GPIO pin : OTG_FS2_OverCurrent_Pin */
	GPIO_InitStruct.Pin = OTG_FS2_OverCurrent_Pin;
	GPIO_InitStruct.Mode = GPIO_MODE_IT_RISING;
	GPIO_InitStruct.Pull = GPIO_NOPULL;
	HAL_GPIO_Init(OTG_FS2_OverCurrent_GPIO_Port, &GPIO_InitStruct);

	/*Configure GPIO pin : PA6 */
	GPIO_InitStruct.Pin = GPIO_PIN_6;
	GPIO_InitStruct.Mode = GPIO_MODE_AF_PP;
	GPIO_InitStruct.Pull = GPIO_NOPULL;
	GPIO_InitStruct.Speed = GPIO_SPEED_FREQ_LOW;
	GPIO_InitStruct.Alternate = GPIO_AF9_TIM13;
	HAL_GPIO_Init(GPIOA, &GPIO_InitStruct);

	/*Configure GPIO pin : PH9 */
	GPIO_InitStruct.Pin = GPIO_PIN_9;
	GPIO_InitStruct.Mode = GPIO_MODE_AF_PP;
	GPIO_InitStruct.Pull = GPIO_NOPULL;
	GPIO_InitStruct.Speed = GPIO_SPEED_FREQ_LOW;
	GPIO_InitStruct.Alternate = GPIO_AF14_LTDC;
	HAL_GPIO_Init(GPIOH, &GPIO_InitStruct);

	/*Configure GPIO pin : PD11 */
	GPIO_InitStruct.Pin = GPIO_PIN_11;
	GPIO_InitStruct.Mode = GPIO_MODE_AF_PP;
	GPIO_InitStruct.Pull = GPIO_NOPULL;
	GPIO_InitStruct.Speed = GPIO_SPEED_FREQ_LOW;
	GPIO_InitStruct.Alternate = GPIO_AF9_QUADSPI;
	HAL_GPIO_Init(GPIOD, &GPIO_InitStruct);

	/*Configure GPIO pins : MII_RX_D3_Pin MII_RX_D2_Pin */
	GPIO_InitStruct.Pin = MII_RX_D3_Pin | MII_RX_D2_Pin;
	GPIO_InitStruct.Mode = GPIO_MODE_AF_PP;
	GPIO_InitStruct.Pull = GPIO_NOPULL;
	GPIO_InitStruct.Speed = GPIO_SPEED_FREQ_LOW;
	GPIO_InitStruct.Alternate = GPIO_AF11_ETH;
	HAL_GPIO_Init(GPIOB, &GPIO_InitStruct);

	/*Configure GPIO pin : LD1_Pin */
	GPIO_InitStruct.Pin = LD1_Pin;
	GPIO_InitStruct.Mode = GPIO_MODE_OUTPUT_PP;
	GPIO_InitStruct.Pull = GPIO_NOPULL;
	GPIO_InitStruct.Speed = GPIO_SPEED_FREQ_LOW;
	HAL_GPIO_Init(LD1_GPIO_Port, &GPIO_InitStruct);

	/*Configure GPIO pin : LCD_RST_Pin */
	GPIO_InitStruct.Pin = LCD_RST_Pin;
	GPIO_InitStruct.Mode = GPIO_MODE_OUTPUT_PP;
	GPIO_InitStruct.Pull = GPIO_NOPULL;
	GPIO_InitStruct.Speed = GPIO_SPEED_FREQ_LOW;
	HAL_GPIO_Init(LCD_RST_GPIO_Port, &GPIO_InitStruct);

	/*Configure GPIO pin : PB15 */
	GPIO_InitStruct.Pin = GPIO_PIN_15;
	GPIO_InitStruct.Mode = GPIO_MODE_AF_PP;
	GPIO_InitStruct.Pull = GPIO_NOPULL;
	GPIO_InitStruct.Speed = GPIO_SPEED_FREQ_LOW;
	GPIO_InitStruct.Alternate = GPIO_AF5_SPI2;
	HAL_GPIO_Init(GPIOB, &GPIO_InitStruct);

	/*AnalogSwitch Config */
	HAL_SYSCFG_AnalogSwitchConfig(SYSCFG_SWITCH_PA0, SYSCFG_SWITCH_PA0_OPEN);

	/*AnalogSwitch Config */
	HAL_SYSCFG_AnalogSwitchConfig(SYSCFG_SWITCH_PA1, SYSCFG_SWITCH_PA1_OPEN);

	/* EXTI interrupt init*/
	HAL_NVIC_SetPriority(OTG_FS2_OverCurrent_EXTI_IRQn, 15, 0);
	HAL_NVIC_EnableIRQ(OTG_FS2_OverCurrent_EXTI_IRQn);

}

/* USER CODE BEGIN 4 */

void HAL_GPIO_EXTI_Callback(uint16_t GPIO_Pin) {
	static uint32_t lastAcceptedMs = 0;
	static uint8_t firstEvent = 1;

	if (GPIO_Pin != GPIO_PIN_13 || taskBHandle == NULL
			|| osKernelGetState() != osKernelRunning) {
		return;
	}

	irqCount++;  // Filtreden önceki ham kesmeler

	uint32_t now = HAL_GetTick();

	if (!firstEvent && (uint32_t) (now - lastAcceptedMs) < 50U) {
		return;
	}

	firstEvent = 0;
	lastAcceptedMs = now;

	uint32_t result = osThreadFlagsSet(taskBHandle, FLAG_BUTTON);

	if ((result & osFlagsError) != 0U) {
		releaseErrors++;
	}
}

/* USER CODE END 4 */

void StartTaskA(void *argument) {
	/* USER CODE BEGIN 5 */
	const uint32_t period = pdMS_TO_TICKS(50);
	uint32_t nextWake = osKernelGetTickCount();

	for (;;) {
		/* Deneyin ikinci aşamasında açacağız: */
//         osDelay(pdMS_TO_TICKS(40));
		uint32_t start = osKernelGetTickCount();

		/* Planlanan başlangıca göre ne kadar geç başladık? */
		startLateTicksA = (uint32_t) (start - nextWake);

		volatile uint32_t value = 1U;

		for (uint32_t i = 0; i < 50000U; i++) {
			value = value * 1664525U + 1013904223U;
		}

		workResult = value;

		elapsedTicksA = osKernelGetTickCount() - start;

		if (elapsedTicksA > maxElapsedTicksA) {
			maxElapsedTicksA = elapsedTicksA;
		}

		uint32_t result = osThreadFlagsSet(taskBHandle, FLAG_DATA);

		if ((result & osFlagsError) != 0U) {
			Error_Handler();
		}

		uint32_t finish = osKernelGetTickCount();

		/* Planlanan başlangıçtan işin bitişine kadar geçen süre */
		responseTicksA = (uint32_t) (finish - nextWake);

		if (responseTicksA > period) {
			deadlineMissesA++;
		}

		counterA++;

//		/* Yalnızca deney: 20 işten sonra A'yı kilitle. */
//		if (counterA >= 20U) {
//			__disable_irq();
//			for (;;) {
//				__NOP();
//			}
//		}

		uint32_t now = osKernelGetTickCount();

		/* Bu turun planlanan başlangıcından beri geçen süre */
		uint32_t sinceRelease = (uint32_t) (now - nextWake);

		/* Gelecekteki ilk başlangıca kaç periyot ilerlemeliyiz */
		uint32_t periodsToAdvance = (sinceRelease / period) + 1U;

		/* Bir periyor ilerlemek normaldir; fazlası atlanan başlangıçtır. */
		skippedReleasesA += periodsToAdvance - 1U;

		nextWake += periodsToAdvance * period;
		osDelayUntil(nextWake);
	}
	/* USER CODE END 5 */
}

void StartTaskB(void *argument) {
	/* USER CODE BEGIN StartTaskB */
	static volatile uint8_t buffer[256];

	for (uint32_t i = 0; i < sizeof(buffer); i++) {
		buffer[i] = 0;
	}
	/* Infinite loop */
	for (;;) {
		uint32_t flags = osThreadFlagsWait(
		FLAG_BUTTON | FLAG_DATA,
		osFlagsWaitAny,
		osWaitForever);

		if ((flags & osFlagsError) != 0U) {
			Error_Handler();
		}

		if ((flags & FLAG_BUTTON) != 0) {
			buttonEvents++;
		}
		if ((flags & FLAG_DATA) != 0) {
			dataEvents++;
		}
		lastFlags = flags;
		counterB++;
		stackFreeB = osThreadGetStackSpace(taskBHandle);
	}
	/* USER CODE END StartTaskB */
}

void StartMonitorTask(void *argument) {
	/* USER CODE BEGIN StartMonitorTask */
	uint32_t previousCounterA = counterA;
	uint32_t previousCounterB = counterB;

	uint32_t lastProgressTickA = osKernelGetTickCount();
	uint32_t lastProgressTickB = osKernelGetTickCount();
	/* Infinite loop */
	for (;;) {
		/* Kontroller Arasında CPU yu diğer görevlere bırak */
		osDelay(pdMS_TO_TICKS(20));
		uint32_t currentCounterA = counterA;
		uint32_t currentCounterB = counterB;
		uint32_t now = osKernelGetTickCount();

		monitorChecks++;

		if (currentCounterA != previousCounterA) {
			/* A, önceki kontrolden beri en az bir iş tamamlamış. */
			previousCounterA = currentCounterA;
			lastProgressTickA = now;
		}

		if (currentCounterB != previousCounterB) {
			previousCounterB = currentCounterB;
			lastProgressTickB = now;
		}

		stalledTicksA = (uint32_t) (now - lastProgressTickA);
		stalledTicksB = (uint32_t) (now - lastProgressTickB);

		if (stalledTicksA >= pdMS_TO_TICKS(200)) {
			/*Alarmı kaydet; sonraki ilerme alarmı silmesi. */
			taskStalledA = 1U;
		}

		if (stalledTicksB >= pdMS_TO_TICKS(200)) {
			taskStalledB = 1U;
		}

		if ((taskStalledA == 0U) && (taskStalledB == 0)) {
			if (HAL_IWDG_Refresh(&hiwdg1) != HAL_OK) {
				Error_Handler();
			}
		}
	}
	/* USER CODE END StartMonitorTask */
}

/* MPU Configuration */

void MPU_Config(void) {
	MPU_Region_InitTypeDef MPU_InitStruct = { 0 };

	/* Disables the MPU */
	HAL_MPU_Disable();

	/** Initializes and configures the Region and the memory to be protected
	 */
	MPU_InitStruct.Enable = MPU_REGION_ENABLE;
	MPU_InitStruct.Number = MPU_REGION_NUMBER0;
	MPU_InitStruct.BaseAddress = 0x0;
	MPU_InitStruct.Size = MPU_REGION_SIZE_4GB;
	MPU_InitStruct.SubRegionDisable = 0x87;
	MPU_InitStruct.TypeExtField = MPU_TEX_LEVEL0;
	MPU_InitStruct.AccessPermission = MPU_REGION_NO_ACCESS;
	MPU_InitStruct.DisableExec = MPU_INSTRUCTION_ACCESS_DISABLE;
	MPU_InitStruct.IsShareable = MPU_ACCESS_SHAREABLE;
	MPU_InitStruct.IsCacheable = MPU_ACCESS_NOT_CACHEABLE;
	MPU_InitStruct.IsBufferable = MPU_ACCESS_NOT_BUFFERABLE;

	HAL_MPU_ConfigRegion(&MPU_InitStruct);
	/* Enables the MPU */
	HAL_MPU_Enable(MPU_PRIVILEGED_DEFAULT);

}

void HAL_TIM_PeriodElapsedCallback(TIM_HandleTypeDef *htim) {
	if (htim->Instance == TIM6) {
		HAL_IncTick();
	}
}

void Error_Handler(void) {
	__disable_irq();
	while (1) {
	}
}

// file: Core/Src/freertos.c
/* USER CODE BEGIN Header */
/**
 ******************************************************************************
 * File Name          : freertos.c
 * Description        : Code for freertos applications
 ******************************************************************************
 * @attention
 *
 * Copyright (c) 2026 STMicroelectronics.
 * All rights reserved.
 *
 * This software is licensed under terms that can be found in the LICENSE file
 * in the root directory of this software component.
 * If no LICENSE file comes with this software, it is provided AS-IS.
 *
 ******************************************************************************
 */
/* USER CODE END Header */

#include "FreeRTOS.h"
#include "task.h"
#include "main.h"

/* USER CODE BEGIN Variables */
volatile uint32_t rtosFault = 0;
/* USER CODE END Variables */

/* Hook prototypes */
void vApplicationStackOverflowHook(xTaskHandle xTask, char *pcTaskName);
void vApplicationMallocFailedHook(void);

/* USER CODE BEGIN 4 */
void vApplicationStackOverflowHook(xTaskHandle xTask, char *pcTaskName) {
	/* Run time stack overflow checking is performed if
	 configCHECK_FOR_STACK_OVERFLOW is defined to 1 or 2. This hook function is
	 called if a stack overflow is detected. */
	(void) xTask;
	(void) pcTaskName;

	rtosFault = 1;
	taskDISABLE_INTERRUPTS();

	for (;;) {
	}
}
/* USER CODE END 4 */

/* USER CODE BEGIN 5 */
void vApplicationMallocFailedHook(void) {
	/* vApplicationMallocFailedHook() will only be called if
	 configUSE_MALLOC_FAILED_HOOK is set to 1 in FreeRTOSConfig.h. It is a hook
	 function that will get called if a call to pvPortMalloc() fails.
	 pvPortMalloc() is called internally by the kernel whenever a task, queue,
	 timer or semaphore is created. It is also called by various parts of the
	 demo application. If heap_1.c or heap_2.c are used, then the size of the
	 heap available to pvPortMalloc() is defined by configTOTAL_HEAP_SIZE in
	 FreeRTOSConfig.h, and the xPortGetFreeHeapSize() API function can be used
	 to query the size of free heap space that remains (although it does not
	 provide information on how the remaining heap might be fragmented). */
	rtosFault = 2;
	taskDISABLE_INTERRUPTS();

	for (;;) {
	}
}
/* USER CODE END 5 */
